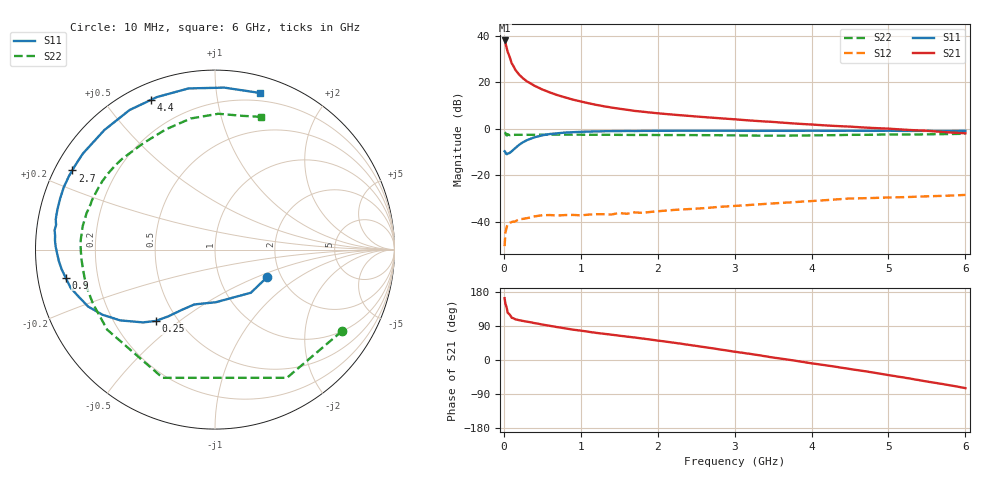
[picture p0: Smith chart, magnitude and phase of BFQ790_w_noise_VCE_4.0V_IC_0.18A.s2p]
! Infineon Technologies  Discrete & RF Semiconductors
! BFQ790
! VCE =  4.0 V,  IC = 0.18 A
! Common Emitter S-Parameters:  May 2015
# GHz  S  MA  R  50
!  f  S11  S21  S12  S22
! GHz  MAG  ANG  MAG  ANG  MAG  ANG  MAG  ANG
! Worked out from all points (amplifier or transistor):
!   77 points, 10 MHz to 6 GHz, reference 50 ohm
!   highest |S21| = 38.0 dB at 10 MHz (marker M1)
!   |S21| within 3 dB of that: start of sweep to 35.49 MHz
!   unconditionally stable (mu >= 1): 231.9 MHz to 468.4 MHz; 619.3 MHz to 774.2 MHz; 855.8 MHz to end of sweep
!   at 130 MHz: K = 0.80, MSG = 33.3 dB, |S12| = -39.9 dB
!   at 2.2 GHz: K = 1.28, MAG = 17.3 dB, |S12| = -34.9 dB
!   at 6 GHz: K = 1.13, MAG = 11.0 dB, |S12| = -28.4 dB
!   lowest NFmin = 3.17 dB at 1.5 GHz
!   S11 on the Smith chart (normalised r, x): 10 MHz: 1.70, -0.58; 250 MHz: 0.38, -0.41; 900 MHz: 0.08, -0.09; 2.7 GHz: 0.05, +0.26; 4.4 GHz: 0.07, +0.66; 6 GHz: 0.13, +1.32
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0.01  0.329 -27.5  79.44 163.1  0.003 59.9  0.8411 -32.6
0.02  0.3127 -50.2  70.71 148.6  0.0058 54.4  0.8191 -60.7
0.05  0.2931 -88.9  45.08 124.7  0.0092 32.6  0.7716 -112.2
0.1  0.3268 -110.7  26.05 111.8  0.0099 21.0  0.7483 -143.4
0.15  0.3874 -119.3  18.47 107.4  0.0103 20.0  0.7438 -156.2
0.2  0.4544 -125.0  14.54 104.9  0.0114 19.4  0.7445 -163.1
0.25  0.5166 -129.7  12.16 103.0  0.0116 18.8  0.7437 -167.5
0.3  0.5706 -134.7  10.48 101.2  0.012 15.0  0.7434 -170.9
0.4  0.6597 -143.3  8.396 97.3  0.0131 16.2  0.7459 -175.7
0.5  0.7243 -149.9  7.014 93.6  0.0139 10.7  0.7473 -179.2
0.6  0.7745 -155.8  6.044 90.1  0.014 13.0  0.7498 178.0
0.7  0.8033 -160.9  5.281 86.6  0.0137 13.4  0.7499 175.5
0.9  0.8466 -169.4  4.239 80.1  0.0141 7.2  0.7483 171.8
1.1  0.8723 -175.8  3.551 74.5  0.0143 10.5  0.7468 168.4
1.5  0.8945 174.9  2.705 64.2  0.0155 12.2  0.7412 162.8
2.1  0.9067 163.7  2.088 48.7  0.0174 11.0  0.7355 154.0
2.7  0.9094 151.0  1.739 31.2  0.0203 6.7  0.7288 142.4
3.1  0.9067 141.7  1.555 19.1  0.0225 2.3  0.7193 133.4
4.1  0.9089 119.4  1.208 -11.5  0.0287 -10.7  0.725 109.9
4.4  0.9075 113.0  1.134 -20.6  0.031 -16.2  0.7366 102.8
5.1  0.9053 96.8  0.984 -43.0  0.0337 -30.4  0.7559 86.5
6  0.9083 73.9  0.802 -74.2  0.0379 -50.8  0.7831 70.8
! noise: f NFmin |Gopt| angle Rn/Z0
0.45  5.2  0.46  140  0.5
0.9  3.66  0.59  168  0.16
1.5  3.17  0.7  -173  0.09
1.8  3.24  0.71  -167  0.1
2.6  3.51  0.74  -152  0.25
3.5  4.07  0.82  -136  0.56
